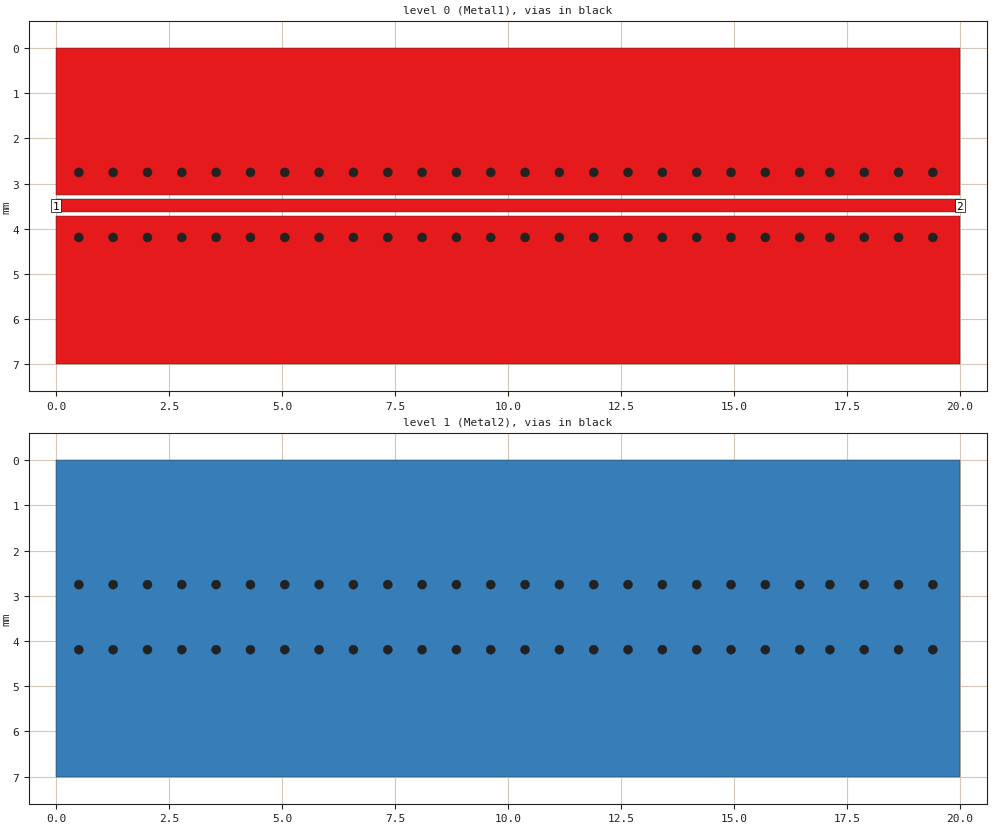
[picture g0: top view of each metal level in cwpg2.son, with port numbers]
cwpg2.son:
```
FTYP SONPROJ 19 ! Sonnet Project File
VER 18.53
HEADER
LIC SL622ff960
DAT 12/17/2022 23:14:02
BUILT_BY_CREATED xgeom 18.53-Lite 07/10/2022 23:02:48
BUILT_BY_SAVED sonnet 18.53-Lite
MDATE 12/17/2022 23:13:54
HDATE 12/17/2022 23:13:54
END HEADER
DIM
ANG DEG
CAP PF
CON /OH
FREQ GHZ
IND NH
LNG MM
RES OH
END DIM
CONTROL
VARSWP
OPTIONS  -dj
SPEED 0
CACHE_ABS 2
Q_ACC N
END CONTROL
GEO
TMET "Lossless" 0 SUP 0 0 0 0
BMET "Lossless" 0 SUP 0 0 0 0
MET "Copper" 1 NOR 58000000 0.5 0.03500000112 
MET "Copper2" 2 NOR 58000000 0.5 0.0152000000038 
MET "Copper" 1 VOL 58000000 SOLID 0
BOX 1 20 7 158 330 20 0
      5 1 1 0 0 0 0 "Air"
      0.2104 4.6 1 0.02 0 0 0 "FR-4"
TECHLAY METAL Metal1 <UNSPECIFIED> -2 -65534 
0 0 0 N 333 1 1 100 100 0 0 0 Y
END
END
TECHLAY METAL Metal2 <UNSPECIFIED> -3 -65534 
1 0 1 N 337 1 1 100 100 0 0 0 Y
END
END
VALVAR l LNG 3.274030303 "Dim. Param."
VCNSTR OPT l 0 3 ON 
VALVAR l_1 LNG 3.26030303 "Dim. Param. l_1"
LORGN 0 7 U 
POR1 BOX
POLY 133 1
3
1 50 0 0 0 0 3.491654697 
POR1 BOX
POLY 133 1
1
2 50 0 0 0 20 3.491654697 
NUM 56
0 5 0 N 133 1 1 100 100 0 0 0 Y
TLAYNAM Metal1 INH
0 3.344969697
20 3.344969697
20 3.638339697
0 3.638339697
0 3.344969697
END
0 5 0 N 138 1 1 100 100 0 0 0 Y
TLAYNAM Metal1 INH
-3.157264883e-18 0
20 0
20 3.26030303
5.551115123e-17 3.26030303
-3.157264883e-18 0
END
0 5 0 N 314 1 1 100 100 0 0 0 Y
TLAYNAM Metal1 INH
0 7
20 7
20 3.725969697
0 3.725969697
0 7
END
VIA POLYGON
0 37 -1 N 256 1 1 100 100 0 0 0 Y
TOLEVEL GND RING NOCOVERS
0.6063291139 2.761051897
0.6032906645 2.778283799
0.5973060875 2.79472629
0.5885572211 2.809879771
0.5773098953 2.823283812
0.5639058544 2.834531138
0.5487523734 2.843280004
0.5323098831 2.849264581
0.5150779803 2.85230303
0.4975802476 2.85230303
0.4803483447 2.849264581
0.4639058544 2.843280004
0.4487523734 2.834531138
0.4353483325 2.823283812
0.4241010067 2.809879771
0.4153521404 2.79472629
0.4093675633 2.778283799
0.4063291139 2.761051897
0.4063291139 2.743554164
0.4093675633 2.726322261
0.4153521404 2.709879771
0.4241010067 2.69472629
0.4353483325 2.681322249
0.4487523734 2.670074923
0.4639058544 2.661326057
0.4803483447 2.65534148
0.4975802476 2.65230303
0.5150779803 2.65230303
0.5323098831 2.65534148
0.5487523734 2.661326057
0.5639058544 2.670074923
0.5773098953 2.681322249
0.5885572211 2.69472629
0.5973060875 2.709879771
0.6032906645 2.726322261
0.6063291139 2.743554164
0.6063291139 2.761051897
END
VIA POLYGON
0 37 -1 N 257 1 1 100 100 0 0 0 Y
TOLEVEL GND RING NOCOVERS
1.365822785 2.761051897
1.362784335 2.7782838
1.356799758 2.79472629
1.348050892 2.809879771
1.336803566 2.823283812
1.323399525 2.834531138
1.308246044 2.843280004
1.291803554 2.849264581
1.274571651 2.85230303
1.257073918 2.85230303
1.239842016 2.849264581
1.223399525 2.843280004
1.208246044 2.834531138
1.194842003 2.823283812
1.183594678 2.809879771
1.174845811 2.79472629
1.168861234 2.7782838
1.165822785 2.761051897
1.165822785 2.743554164
1.168861234 2.726322261
1.174845811 2.709879771
1.183594678 2.69472629
1.194842003 2.681322249
1.208246044 2.670074923
1.223399525 2.661326057
1.239842016 2.65534148
1.257073918 2.65230303
1.274571651 2.65230303
1.291803554 2.65534148
1.308246044 2.661326057
1.323399525 2.670074923
1.336803566 2.681322249
1.348050892 2.69472629
1.356799758 2.709879771
1.362784335 2.726322261
1.365822785 2.743554164
1.365822785 2.761051897
END
VIA POLYGON
0 37 -1 N 258 1 1 100 100 0 0 0 Y
TOLEVEL GND RING NOCOVERS
2.125316456 2.761051897
2.122278006 2.7782838
2.116293429 2.79472629
2.107544563 2.809879771
2.096297237 2.823283812
2.082893196 2.834531138
2.067739715 2.843280004
2.051297225 2.849264581
2.034065322 2.85230303
2.016567589 2.85230303
1.999335686 2.849264581
1.982893196 2.843280004
1.967739715 2.834531138
1.954335674 2.823283812
1.943088348 2.809879771
1.934339482 2.79472629
1.928354905 2.7782838
1.925316456 2.761051897
1.925316456 2.743554164
1.928354905 2.726322261
1.934339482 2.709879771
1.943088348 2.69472629
1.954335674 2.681322249
1.967739715 2.670074923
1.982893196 2.661326057
1.999335686 2.65534148
2.016567589 2.65230303
2.034065322 2.65230303
2.051297225 2.65534148
2.067739715 2.661326057
2.082893196 2.670074923
2.096297237 2.681322249
2.107544563 2.69472629
2.116293429 2.709879771
2.122278006 2.726322261
2.125316456 2.743554164
2.125316456 2.761051897
END
VIA POLYGON
0 37 -1 N 259 1 1 100 100 0 0 0 Y
TOLEVEL GND RING NOCOVERS
3.644303798 2.761051897
3.641265348 2.7782838
3.635280771 2.79472629
3.626531905 2.809879771
3.615284579 2.823283812
3.601880538 2.834531138
3.586727057 2.843280004
3.570284567 2.849264581
3.553052664 2.85230303
3.535554931 2.85230303
3.518323029 2.849264581
3.501880538 2.843280004
3.486727057 2.834531138
3.473323016 2.823283812
3.462075691 2.809879771
3.453326824 2.79472629
3.447342247 2.7782838
3.444303798 2.761051897
3.444303798 2.743554164
3.447342247 2.726322261
3.453326824 2.709879771
3.462075691 2.69472629
3.473323016 2.681322249
3.486727057 2.670074923
3.501880538 2.661326057
3.518323029 2.65534148
3.535554931 2.65230303
3.553052664 2.65230303
3.570284567 2.65534148
3.586727057 2.661326057
3.601880538 2.670074923
3.615284579 2.681322249
3.626531905 2.69472629
3.635280771 2.709879771
3.641265348 2.726322261
3.644303798 2.743554164
3.644303798 2.761051897
END
VIA POLYGON
0 37 -1 N 260 1 1 100 100 0 0 0 Y
TOLEVEL GND RING NOCOVERS
4.403797469 2.761051897
4.400759019 2.7782838
4.394774442 2.79472629
4.386025576 2.809879771
4.37477825 2.823283812
4.361374209 2.834531138
4.346220728 2.843280004
4.329778238 2.849264581
4.312546335 2.85230303
4.295048602 2.85230303
4.277816699 2.849264581
4.261374209 2.843280004
4.246220728 2.834531138
4.232816687 2.823283812
4.221569361 2.809879771
4.212820495 2.79472629
4.206835918 2.7782838
4.203797469 2.761051897
4.203797469 2.743554164
4.206835918 2.726322261
4.212820495 2.709879771
4.221569361 2.69472629
4.232816687 2.681322249
4.246220728 2.670074923
4.261374209 2.661326057
4.277816699 2.65534148
4.295048602 2.65230303
4.312546335 2.65230303
4.329778238 2.65534148
4.346220728 2.661326057
4.361374209 2.670074923
4.37477825 2.681322249
4.386025576 2.69472629
4.394774442 2.709879771
4.400759019 2.726322261
4.403797469 2.743554164
4.403797469 2.761051897
END
VIA POLYGON
0 37 -1 N 261 1 1 100 100 0 0 0 Y
TOLEVEL GND RING NOCOVERS
2.884810127 2.761051897
2.881771677 2.7782838
2.8757871 2.79472629
2.867038234 2.809879771
2.855790908 2.823283812
2.842386867 2.834531138
2.827233386 2.843280004
2.810790896 2.849264581
2.793558993 2.85230303
2.77606126 2.85230303
2.758829357 2.849264581
2.742386867 2.843280004
2.727233386 2.834531138
2.713829345 2.823283812
2.702582019 2.809879771
2.693833153 2.79472629
2.687848576 2.7782838
2.684810127 2.761051897
2.684810127 2.743554164
2.687848576 2.726322261
2.693833153 2.709879771
2.702582019 2.69472629
2.713829345 2.681322249
2.727233386 2.670074923
2.742386867 2.661326057
2.758829357 2.65534148
2.77606126 2.65230303
2.793558993 2.65230303
2.810790896 2.65534148
2.827233386 2.661326057
2.842386867 2.670074923
2.855790908 2.681322249
2.867038234 2.69472629
2.8757871 2.709879771
2.881771677 2.726322261
2.884810127 2.743554164
2.884810127 2.761051897
END
VIA POLYGON
0 37 -1 N 262 1 1 100 100 0 0 0 Y
TOLEVEL GND RING NOCOVERS
5.92278481 2.761051897
5.91974636 2.7782838
5.913761783 2.79472629
5.905012917 2.809879771
5.893765591 2.823283812
5.88036155 2.834531138
5.865208069 2.843280004
5.848765579 2.849264581
5.831533676 2.85230303
5.814035943 2.85230303
5.796804041 2.849264581
5.78036155 2.843280004
5.765208069 2.834531138
5.751804028 2.823283812
5.740556703 2.809879771
5.731807836 2.79472629
5.725823259 2.7782838
5.72278481 2.761051897
5.72278481 2.743554164
5.725823259 2.726322261
5.731807836 2.709879771
5.740556703 2.69472629
5.751804028 2.681322249
5.765208069 2.670074923
5.78036155 2.661326057
5.796804041 2.65534148
5.814035943 2.65230303
5.831533676 2.65230303
5.848765579 2.65534148
5.865208069 2.661326057
5.88036155 2.670074923
5.893765591 2.681322249
5.905012917 2.69472629
5.913761783 2.709879771
5.91974636 2.726322261
5.92278481 2.743554164
5.92278481 2.761051897
END
VIA POLYGON
0 37 -1 N 263 1 1 100 100 0 0 0 Y
TOLEVEL GND RING NOCOVERS
6.682278481 2.761051897
6.679240031 2.7782838
6.673255454 2.79472629
6.664506588 2.809879771
6.653259262 2.823283812
6.639855221 2.834531138
6.62470174 2.843280004
6.60825925 2.849264581
6.591027347 2.85230303
6.573529614 2.85230303
6.556297711 2.849264581
6.539855221 2.843280004
6.52470174 2.834531138
6.511297699 2.823283812
6.500050373 2.809879771
6.491301507 2.79472629
6.48531693 2.7782838
6.482278481 2.761051897
6.482278481 2.743554164
6.48531693 2.726322261
6.491301507 2.709879771
6.500050373 2.69472629
6.511297699 2.681322249
6.52470174 2.670074923
6.539855221 2.661326057
6.556297711 2.65534148
6.573529614 2.65230303
6.591027347 2.65230303
6.60825925 2.65534148
6.62470174 2.661326057
6.639855221 2.670074923
6.653259262 2.681322249
6.664506588 2.69472629
6.673255454 2.709879771
6.679240031 2.726322261
6.682278481 2.743554164
6.682278481 2.761051897
END
VIA POLYGON
0 37 -1 N 264 1 1 100 100 0 0 0 Y
TOLEVEL GND RING NOCOVERS
5.163291139 2.761051897
5.16025269 2.7782838
5.154268113 2.79472629
5.145519246 2.809879771
5.134271921 2.823283812
5.12086788 2.834531138
5.105714399 2.843280004
5.089271908 2.849264581
5.072040006 2.85230303
5.054542273 2.85230303
5.03731037 2.849264581
5.02086788 2.843280004
5.005714399 2.834531138
4.992310358 2.823283812
4.981063032 2.809879771
4.972314166 2.79472629
4.966329589 2.7782838
4.963291139 2.761051897
4.963291139 2.743554164
4.966329589 2.726322261
4.972314166 2.709879771
4.981063032 2.69472629
4.992310358 2.681322249
5.005714399 2.670074923
5.02086788 2.661326057
5.03731037 2.65534148
5.054542273 2.65230303
5.072040006 2.65230303
5.089271908 2.65534148
5.105714399 2.661326057
5.12086788 2.670074923
5.134271921 2.681322249
5.145519246 2.69472629
5.154268113 2.709879771
5.16025269 2.726322261
5.163291139 2.743554164
5.163291139 2.761051897
END
VIA POLYGON
0 37 -1 N 266 1 1 100 100 0 0 0 Y
TOLEVEL GND RING NOCOVERS
8.201265823 2.761051897
8.198227373 2.7782838
8.192242796 2.79472629
8.18349393 2.809879771
8.172246604 2.823283812
8.158842563 2.834531138
8.143689082 2.843280004
8.127246592 2.849264581
8.110014689 2.85230303
8.092516956 2.85230303
8.075285054 2.849264581
8.058842563 2.843280004
8.043689082 2.834531138
8.030285041 2.823283812
8.019037716 2.809879771
8.010288849 2.79472629
8.004304272 2.7782838
8.001265823 2.761051897
8.001265823 2.743554164
8.004304272 2.726322261
8.010288849 2.709879771
8.019037716 2.69472629
8.030285041 2.681322249
8.043689082 2.670074923
8.058842563 2.661326057
8.075285054 2.65534148
8.092516956 2.65230303
8.110014689 2.65230303
8.127246592 2.65534148
8.143689082 2.661326057
8.158842563 2.670074923
8.172246604 2.681322249
8.18349393 2.69472629
8.192242796 2.709879771
8.198227373 2.726322261
8.201265823 2.743554164
8.201265823 2.761051897
END
VIA POLYGON
0 37 -1 N 267 1 1 100 100 0 0 0 Y
TOLEVEL GND RING NOCOVERS
7.441772152 2.761051897
7.438733702 2.7782838
7.432749125 2.79472629
7.424000259 2.809879771
7.412752933 2.823283812
7.399348892 2.834531138
7.384195411 2.843280004
7.367752921 2.849264581
7.350521018 2.85230303
7.333023285 2.85230303
7.315791382 2.849264581
7.299348892 2.843280004
7.284195411 2.834531138
7.27079137 2.823283812
7.259544044 2.809879771
7.250795178 2.79472629
7.244810601 2.7782838
7.241772152 2.761051897
7.241772152 2.743554164
7.244810601 2.726322261
7.250795178 2.709879771
7.259544044 2.69472629
7.27079137 2.681322249
7.284195411 2.670074923
7.299348892 2.661326057
7.315791382 2.65534148
7.333023285 2.65230303
7.350521018 2.65230303
7.367752921 2.65534148
7.384195411 2.661326057
7.399348892 2.670074923
7.412752933 2.681322249
7.424000259 2.69472629
7.432749125 2.709879771
7.438733702 2.726322261
7.441772152 2.743554164
7.441772152 2.761051897
END
VIA POLYGON
0 37 -1 N 280 1 1 100 100 0 0 0 Y
TOLEVEL GND RING NOCOVERS
8.960759494 2.761051897
8.957721044 2.7782838
8.951736467 2.79472629
8.942987601 2.809879771
8.931740275 2.823283812
8.918336234 2.834531138
8.903182753 2.843280004
8.886740263 2.849264581
8.86950836 2.85230303
8.852010627 2.85230303
8.834778725 2.849264581
8.818336234 2.843280004
8.803182753 2.834531138
8.789778712 2.823283812
8.778531387 2.809879771
8.76978252 2.79472629
8.763797943 2.7782838
8.760759494 2.761051897
8.760759494 2.743554164
8.763797943 2.726322261
8.76978252 2.709879771
8.778531387 2.69472629
8.789778712 2.681322249
8.803182753 2.670074923
8.818336234 2.661326057
8.834778725 2.65534148
8.852010627 2.65230303
8.86950836 2.65230303
8.886740263 2.65534148
8.903182753 2.661326057
8.918336234 2.670074923
8.931740275 2.681322249
8.942987601 2.69472629
8.951736467 2.709879771
8.957721044 2.726322261
8.960759494 2.743554164
8.960759494 2.761051897
END
VIA POLYGON
0 37 -1 N 281 1 1 100 100 0 0 0 Y
TOLEVEL GND RING NOCOVERS
9.720253165 2.761051897
9.717214715 2.7782838
9.711230138 2.79472629
9.702481272 2.809879771
9.691233946 2.823283812
9.677829905 2.834531138
9.662676424 2.843280004
9.646233934 2.849264581
9.629002031 2.85230303
9.611504298 2.85230303
9.594272396 2.849264581
9.577829905 2.843280004
9.562676424 2.834531138
9.549272383 2.823283812
9.538025058 2.809879771
9.529276191 2.79472629
9.523291614 2.7782838
9.520253165 2.761051897
9.520253165 2.743554164
9.523291614 2.726322261
9.529276191 2.709879771
9.538025058 2.69472629
9.549272383 2.681322249
9.562676424 2.670074923
9.577829905 2.661326057
9.594272396 2.65534148
9.611504298 2.65230303
9.629002031 2.65230303
9.646233934 2.65534148
9.662676424 2.661326057
9.677829905 2.670074923
9.691233946 2.681322249
9.702481272 2.69472629
9.711230138 2.709879771
9.717214715 2.726322261
9.720253165 2.743554164
9.720253165 2.761051897
END
VIA POLYGON
0 37 -1 N 282 1 1 100 100 0 0 0 Y
TOLEVEL GND RING NOCOVERS
10.47974684 2.761051897
10.47670839 2.7782838
10.47072381 2.79472629
10.46197494 2.809879771
10.45072762 2.823283812
10.43732358 2.834531138
10.42217009 2.843280004
10.4057276 2.849264581
10.3884957 2.85230303
10.37099797 2.85230303
10.35376607 2.849264581
10.33732358 2.843280004
10.32217009 2.834531138
10.30876605 2.823283812
10.29751873 2.809879771
10.28876986 2.79472629
10.28278528 2.7782838
10.27974684 2.761051897
10.27974684 2.743554164
10.28278528 2.726322261
10.28876986 2.709879771
10.29751873 2.69472629
10.30876605 2.681322249
10.32217009 2.670074923
10.33732358 2.661326057
10.35376607 2.65534148
10.37099797 2.65230303
10.3884957 2.65230303
10.4057276 2.65534148
10.42217009 2.661326057
10.43732358 2.670074923
10.45072762 2.681322249
10.46197494 2.69472629
10.47072381 2.709879771
10.47670839 2.726322261
10.47974684 2.743554164
10.47974684 2.761051897
END
VIA POLYGON
0 37 -1 N 283 1 1 100 100 0 0 0 Y
TOLEVEL GND RING NOCOVERS
11.23924051 2.761051897
11.23620206 2.7782838
11.23021748 2.79472629
11.22146861 2.809879771
11.21022129 2.823283812
11.19681725 2.834531138
11.18166377 2.843280004
11.16522128 2.849264581
11.14798937 2.85230303
11.13049164 2.85230303
11.11325974 2.849264581
11.09681725 2.843280004
11.08166377 2.834531138
11.06825972 2.823283812
11.0570124 2.809879771
11.04826353 2.79472629
11.04227896 2.7782838
11.03924051 2.761051897
11.03924051 2.743554164
11.04227896 2.726322261
11.04826353 2.709879771
11.0570124 2.69472629
11.06825972 2.681322249
11.08166377 2.670074923
11.09681725 2.661326057
11.11325974 2.65534148
11.13049164 2.65230303
11.14798937 2.65230303
11.16522128 2.65534148
11.18166377 2.661326057
11.19681725 2.670074923
11.21022129 2.681322249
11.22146861 2.69472629
11.23021748 2.709879771
11.23620206 2.726322261
11.23924051 2.743554164
11.23924051 2.761051897
END
VIA POLYGON
0 37 -1 N 284 1 1 100 100 0 0 0 Y
TOLEVEL GND RING NOCOVERS
11.99873418 2.761051897
11.99569573 2.7782838
11.98971115 2.79472629
11.98096228 2.809879771
11.96971496 2.823283812
11.95631092 2.834531138
11.94115744 2.843280004
11.92471495 2.849264581
11.90748304 2.85230303
11.88998531 2.85230303
11.87275341 2.849264581
11.85631092 2.843280004
11.84115744 2.834531138
11.8277534 2.823283812
11.81650607 2.809879771
11.8077572 2.79472629
11.80177263 2.7782838
11.79873418 2.761051897
11.79873418 2.743554164
11.80177263 2.726322261
11.8077572 2.709879771
11.81650607 2.69472629
11.8277534 2.681322249
11.84115744 2.670074923
11.85631092 2.661326057
11.87275341 2.65534148
11.88998531 2.65230303
11.90748304 2.65230303
11.92471495 2.65534148
11.94115744 2.661326057
11.95631092 2.670074923
11.96971496 2.681322249
11.98096228 2.69472629
11.98971115 2.709879771
11.99569573 2.726322261
11.99873418 2.743554164
11.99873418 2.761051897
END
VIA POLYGON
0 37 -1 N 285 1 1 100 100 0 0 0 Y
TOLEVEL GND RING NOCOVERS
12.75822785 2.761051897
12.7551894 2.7782838
12.74920482 2.79472629
12.74045596 2.809879771
12.72920863 2.823283812
12.71580459 2.834531138
12.70065111 2.843280004
12.68420862 2.849264581
12.66697671 2.85230303
12.64947898 2.85230303
12.63224708 2.849264581
12.61580459 2.843280004
12.60065111 2.834531138
12.58724707 2.823283812
12.57599974 2.809879771
12.56725087 2.79472629
12.5612663 2.7782838
12.55822785 2.761051897
12.55822785 2.743554164
12.5612663 2.726322261
12.56725087 2.709879771
12.57599974 2.69472629
12.58724707 2.681322249
12.60065111 2.670074923
12.61580459 2.661326057
12.63224708 2.65534148
12.64947898 2.65230303
12.66697671 2.65230303
12.68420862 2.65534148
12.70065111 2.661326057
12.71580459 2.670074923
12.72920863 2.681322249
12.74045596 2.69472629
12.74920482 2.709879771
12.7551894 2.726322261
12.75822785 2.743554164
12.75822785 2.761051897
END
VIA POLYGON
0 37 -1 N 286 1 1 100 100 0 0 0 Y
TOLEVEL GND RING NOCOVERS
13.51772152 2.761051897
13.51468307 2.7782838
13.50869849 2.79472629
13.49994963 2.809879771
13.4887023 2.823283812
13.47529826 2.834531138
13.46014478 2.843280004
13.44370229 2.849264581
13.42647039 2.85230303
13.40897265 2.85230303
13.39174075 2.849264581
13.37529826 2.843280004
13.36014478 2.834531138
13.34674074 2.823283812
13.33549341 2.809879771
13.32674455 2.79472629
13.32075997 2.7782838
13.31772152 2.761051897
13.31772152 2.743554164
13.32075997 2.726322261
13.32674455 2.709879771
13.33549341 2.69472629
13.34674074 2.681322249
13.36014478 2.670074923
13.37529826 2.661326057
13.39174075 2.65534148
13.40897265 2.65230303
13.42647039 2.65230303
13.44370229 2.65534148
13.46014478 2.661326057
13.47529826 2.670074923
13.4887023 2.681322249
13.49994963 2.69472629
13.50869849 2.709879771
13.51468307 2.726322261
13.51772152 2.743554164
13.51772152 2.761051897
END
VIA POLYGON
0 37 -1 N 287 1 1 100 100 0 0 0 Y
TOLEVEL GND RING NOCOVERS
15.03670886 2.761051897
15.03367041 2.7782838
15.02768583 2.79472629
15.01893697 2.809879771
15.00768964 2.823283812
14.9942856 2.834531138
14.97913212 2.843280004
14.96268963 2.849264581
14.94545773 2.85230303
14.92795999 2.85230303
14.91072809 2.849264581
14.8942856 2.843280004
14.87913212 2.834531138
14.86572808 2.823283812
14.85448075 2.809879771
14.84573189 2.79472629
14.83974731 2.7782838
14.83670886 2.761051897
14.83670886 2.743554164
14.83974731 2.726322261
14.84573189 2.709879771
14.85448075 2.69472629
14.86572808 2.681322249
14.87913212 2.670074923
14.8942856 2.661326057
14.91072809 2.65534148
14.92795999 2.65230303
14.94545773 2.65230303
14.96268963 2.65534148
14.97913212 2.661326057
14.9942856 2.670074923
15.00768964 2.681322249
15.01893697 2.69472629
15.02768583 2.709879771
15.03367041 2.726322261
15.03670886 2.743554164
15.03670886 2.761051897
END
VIA POLYGON
0 37 -1 N 288 1 1 100 100 0 0 0 Y
TOLEVEL GND RING NOCOVERS
14.27721519 2.761051897
14.27417674 2.7782838
14.26819216 2.79472629
14.2594433 2.809879771
14.24819597 2.823283812
14.23479193 2.834531138
14.21963845 2.843280004
14.20319596 2.849264581
14.18596406 2.85230303
14.16846632 2.85230303
14.15123442 2.849264581
14.13479193 2.843280004
14.11963845 2.834531138
14.10623441 2.823283812
14.09498708 2.809879771
14.08623822 2.79472629
14.08025364 2.7782838
14.07721519 2.761051897
14.07721519 2.743554164
14.08025364 2.726322261
14.08623822 2.709879771
14.09498708 2.69472629
14.10623441 2.681322249
14.11963845 2.670074923
14.13479193 2.661326057
14.15123442 2.65534148
14.16846632 2.65230303
14.18596406 2.65230303
14.20319596 2.65534148
14.21963845 2.661326057
14.23479193 2.670074923
14.24819597 2.681322249
14.2594433 2.69472629
14.26819216 2.709879771
14.27417674 2.726322261
14.27721519 2.743554164
14.27721519 2.761051897
END
VIA POLYGON
0 37 -1 N 289 1 1 100 100 0 0 0 Y
TOLEVEL GND RING NOCOVERS
15.79620253 2.761051897
15.79316408 2.7782838
15.7871795 2.79472629
15.77843064 2.809879771
15.76718331 2.823283812
15.75377927 2.834531138
15.73862579 2.843280004
15.7221833 2.849264581
15.7049514 2.85230303
15.68745366 2.85230303
15.67022176 2.849264581
15.65377927 2.843280004
15.63862579 2.834531138
15.62522175 2.823283812
15.61397442 2.809879771
15.60522556 2.79472629
15.59924098 2.7782838
15.59620253 2.761051897
15.59620253 2.743554164
15.59924098 2.726322261
15.60522556 2.709879771
15.61397442 2.69472629
15.62522175 2.681322249
15.63862579 2.670074923
15.65377927 2.661326057
15.67022176 2.65534148
15.68745366 2.65230303
15.7049514 2.65230303
15.7221833 2.65534148
15.73862579 2.661326057
15.75377927 2.670074923
15.76718331 2.681322249
15.77843064 2.69472629
15.7871795 2.709879771
15.79316408 2.726322261
15.79620253 2.743554164
15.79620253 2.761051897
END
VIA POLYGON
0 37 -1 N 290 1 1 100 100 0 0 0 Y
TOLEVEL GND RING NOCOVERS
16.5556962 2.761051897
16.55265775 2.7782838
16.54667318 2.79472629
16.53792431 2.809879771
16.52667698 2.823283812
16.51327294 2.834531138
16.49811946 2.843280004
16.48167697 2.849264581
16.46444507 2.85230303
16.44694734 2.85230303
16.42971543 2.849264581
16.41327294 2.843280004
16.39811946 2.834531138
16.38471542 2.823283812
16.3734681 2.809879771
16.36471923 2.79472629
16.35873465 2.7782838
16.3556962 2.761051897
16.3556962 2.743554164
16.35873465 2.726322261
16.36471923 2.709879771
16.3734681 2.69472629
16.38471542 2.681322249
16.39811946 2.670074923
16.41327294 2.661326057
16.42971543 2.65534148
16.44694734 2.65230303
16.46444507 2.65230303
16.48167697 2.65534148
16.49811946 2.661326057
16.51327294 2.670074923
16.52667698 2.681322249
16.53792431 2.69472629
16.54667318 2.709879771
16.55265775 2.726322261
16.5556962 2.743554164
16.5556962 2.761051897
END
VIA POLYGON
0 37 -1 N 291 1 1 100 100 0 0 0 Y
TOLEVEL GND RING NOCOVERS
17.2242129 2.760961971
17.22117445 2.778193874
17.21518987 2.794636364
17.20644101 2.809789845
17.19519368 2.823193886
17.18178964 2.834441212
17.16663616 2.843190078
17.15019367 2.849174655
17.13296177 2.852213104
17.11546403 2.852213104
17.09823213 2.849174655
17.08178964 2.843190078
17.06663616 2.834441212
17.05323212 2.823193886
17.04198479 2.809789845
17.03323593 2.794636364
17.02725135 2.778193874
17.0242129 2.760961971
17.0242129 2.743464238
17.02725135 2.726232335
17.03323593 2.709789845
17.04198479 2.694636364
17.05323212 2.681232323
17.06663616 2.669984997
17.08178964 2.661236131
17.09823213 2.655251554
17.11546403 2.652213104
17.13296177 2.652213104
17.15019367 2.655251554
17.16663616 2.661236131
17.18178964 2.669984997
17.19519368 2.681232323
17.20644101 2.694636364
17.21518987 2.709789845
17.22117445 2.726232335
17.2242129 2.743464238
17.2242129 2.760961971
END
VIA POLYGON
0 37 -1 N 292 1 1 100 100 0 0 0 Y
TOLEVEL GND RING NOCOVERS
17.98370657 2.760961971
17.98066812 2.778193874
17.97468354 2.794636364
17.96593468 2.809789845
17.95468735 2.823193886
17.94128331 2.834441212
17.92612983 2.843190078
17.90968734 2.849174655
17.89245544 2.852213104
17.8749577 2.852213104
17.8577258 2.849174655
17.84128331 2.843190078
17.82612983 2.834441212
17.81272579 2.823193886
17.80147846 2.809789845
17.7927296 2.794636364
17.78674502 2.778193874
17.78370657 2.760961971
17.78370657 2.743464238
17.78674502 2.726232335
17.7927296 2.709789845
17.80147846 2.694636364
17.81272579 2.681232323
17.82612983 2.669984997
17.84128331 2.661236131
17.8577258 2.655251554
17.8749577 2.652213104
17.89245544 2.652213104
17.90968734 2.655251554
17.92612983 2.661236131
17.94128331 2.669984997
17.95468735 2.681232323
17.96593468 2.694636364
17.97468354 2.709789845
17.98066812 2.726232335
17.98370657 2.743464238
17.98370657 2.760961971
END
VIA POLYGON
0 37 -1 N 293 1 1 100 100 0 0 0 Y
TOLEVEL GND RING NOCOVERS
18.74320024 2.760961971
18.74016179 2.778193874
18.73417722 2.794636364
18.72542835 2.809789845
18.71418102 2.823193886
18.70077698 2.834441212
18.6856235 2.843190078
18.66918101 2.849174655
18.65194911 2.852213104
18.63445138 2.852213104
18.61721947 2.849174655
18.60077698 2.843190078
18.5856235 2.834441212
18.57221946 2.823193886
18.56097214 2.809789845
18.55222327 2.794636364
18.54623869 2.778193874
18.54320024 2.760961971
18.54320024 2.743464238
18.54623869 2.726232335
18.55222327 2.709789845
18.56097214 2.694636364
18.57221946 2.681232323
18.5856235 2.669984997
18.60077698 2.661236131
18.61721947 2.655251554
18.63445138 2.652213104
18.65194911 2.652213104
18.66918101 2.655251554
18.6856235 2.661236131
18.70077698 2.669984997
18.71418102 2.681232323
18.72542835 2.694636364
18.73417722 2.709789845
18.74016179 2.726232335
18.74320024 2.743464238
18.74320024 2.760961971
END
VIA POLYGON
0 37 -1 N 294 1 1 100 100 0 0 0 Y
TOLEVEL GND RING NOCOVERS
19.50269391 2.760961971
19.49965546 2.778193874
19.49367089 2.794636364
19.48492202 2.809789845
19.47367469 2.823193886
19.46027065 2.834441212
19.44511717 2.843190078
19.42867468 2.849174655
19.41144278 2.852213104
19.39394505 2.852213104
19.37671314 2.849174655
19.36027065 2.843190078
19.34511717 2.834441212
19.33171313 2.823193886
19.32046581 2.809789845
19.31171694 2.794636364
19.30573236 2.778193874
19.30269391 2.760961971
19.30269391 2.743464238
19.30573236 2.726232335
19.31171694 2.709789845
19.32046581 2.694636364
19.33171313 2.681232323
19.34511717 2.669984997
19.36027065 2.661236131
19.37671314 2.655251554
19.39394505 2.652213104
19.41144278 2.652213104
19.42867468 2.655251554
19.44511717 2.661236131
19.46027065 2.669984997
19.47367469 2.681232323
19.48492202 2.694636364
19.49367089 2.709789845
19.49965546 2.726232335
19.50269391 2.743464238
19.50269391 2.760961971
END
VIA POLYGON
0 37 -1 N 295 1 1 100 100 0 0 0 Y
TOLEVEL GND RING NOCOVERS
11.99873418 4.182886064
11.9956962 4.165656397
11.98972152 4.14921413
11.98096203 4.134058797
11.96972152 4.120656064
11.9563038 4.109408097
11.94116456 4.100657797
11.92470886 4.094676097
11.90749367 4.091636564
11.88997468 4.091636564
11.87275949 4.094676097
11.8563038 4.100657797
11.84116456 4.109408097
11.82774684 4.120656064
11.81650633 4.134058797
11.80774684 4.14921413
11.80177215 4.165656397
11.79873418 4.182886064
11.79873418 4.200386664
11.80177215 4.21761633
11.80774684 4.234058597
11.81650633 4.24921393
11.82774684 4.262616664
11.84116456 4.27386463
11.8563038 4.28261493
11.87275949 4.28859663
11.88997468 4.291636164
11.90749367 4.291636164
11.92470886 4.28859663
11.94116456 4.28261493
11.9563038 4.27386463
11.96972152 4.262616664
11.98096203 4.24921393
11.98972152 4.234058597
11.9956962 4.21761633
11.99873418 4.200386664
11.99873418 4.182886064
END
VIA POLYGON
0 37 -1 N 296 1 1 100 100 0 0 0 Y
TOLEVEL GND RING NOCOVERS
5.92278481 4.182886064
5.919746835 4.165656397
5.913772152 4.14921413
5.905012658 4.134058797
5.893772152 4.120656064
5.88035443 4.109408097
5.86521519 4.100657797
5.848759494 4.094676097
5.831544304 4.091636564
5.814025316 4.091636564
5.796810127 4.094676097
5.78035443 4.100657797
5.76521519 4.109408097
5.751797468 4.120656064
5.740556962 4.134058797
5.731797468 4.14921413
5.725822785 4.165656397
5.72278481 4.182886064
5.72278481 4.200386664
5.725822785 4.21761633
5.731797468 4.234058597
5.740556962 4.24921393
5.751797468 4.262616664
5.76521519 4.27386463
5.78035443 4.28261493
5.796810127 4.28859663
5.814025316 4.291636164
5.831544304 4.291636164
5.848759494 4.28859663
5.86521519 4.28261493
5.88035443 4.27386463
5.893772152 4.262616664
5.905012658 4.24921393
5.913772152 4.234058597
5.919746835 4.21761633
5.92278481 4.200386664
5.92278481 4.182886064
END
VIA POLYGON
0 37 -1 N 297 1 1 100 100 0 0 0 Y
TOLEVEL GND RING NOCOVERS
9.720253165 4.182886064
9.71721519 4.165656397
9.711240506 4.14921413
9.702481013 4.134058797
9.691240506 4.120656064
9.677822785 4.109408097
9.662683544 4.100657797
9.646227848 4.094676097
9.629012658 4.091636564
9.611493671 4.091636564
9.594278481 4.094676097
9.577822785 4.100657797
9.562683544 4.109408097
9.549265823 4.120656064
9.538025316 4.134058797
9.529265823 4.14921413
9.523291139 4.165656397
9.520253165 4.182886064
9.520253165 4.200386664
9.523291139 4.21761633
9.529265823 4.234058597
9.538025316 4.24921393
9.549265823 4.262616664
9.562683544 4.27386463
9.577822785 4.28261493
9.594278481 4.28859663
9.611493671 4.291636164
9.629012658 4.291636164
9.646227848 4.28859663
9.662683544 4.28261493
9.677822785 4.27386463
9.691240506 4.262616664
9.702481013 4.24921393
9.711240506 4.234058597
9.71721519 4.21761633
9.720253165 4.200386664
9.720253165 4.182886064
END
VIA POLYGON
0 37 -1 N 298 1 1 100 100 0 0 0 Y
TOLEVEL GND RING NOCOVERS
14.27721519 4.182886064
14.27417722 4.165656397
14.26820253 4.14921413
14.25944304 4.134058797
14.24820253 4.120656064
14.23478481 4.109408097
14.21964557 4.100657797
14.20318987 4.094676097
14.18597468 4.091636564
14.1684557 4.091636564
14.15124051 4.094676097
14.13478481 4.100657797
14.11964557 4.109408097
14.10622785 4.120656064
14.09498734 4.134058797
14.08622785 4.14921413
14.08025316 4.165656397
14.07721519 4.182886064
14.07721519 4.200386664
14.08025316 4.21761633
14.08622785 4.234058597
14.09498734 4.24921393
14.10622785 4.262616664
14.11964557 4.27386463
14.13478481 4.28261493
14.15124051 4.28859663
14.1684557 4.291636164
14.18597468 4.291636164
14.20318987 4.28859663
14.21964557 4.28261493
14.23478481 4.27386463
14.24820253 4.262616664
14.25944304 4.24921393
14.26820253 4.234058597
14.27417722 4.21761633
14.27721519 4.200386664
14.27721519 4.182886064
END
VIA POLYGON
0 37 -1 N 299 1 1 100 100 0 0 0 Y
TOLEVEL GND RING NOCOVERS
16.5556962 4.182886064
16.55265823 4.165656397
16.54668354 4.14921413
16.53792405 4.134058797
16.52668354 4.120656064
16.51326582 4.109408097
16.49812658 4.100657797
16.48167089 4.094676097
16.4644557 4.091636564
16.44693671 4.091636564
16.42972152 4.094676097
16.41326582 4.100657797
16.39812658 4.109408097
16.38470886 4.120656064
16.37346835 4.134058797
16.36470886 4.14921413
16.35873418 4.165656397
16.3556962 4.182886064
16.3556962 4.200386664
16.35873418 4.21761633
16.36470886 4.234058597
16.37346835 4.24921393
16.38470886 4.262616664
16.39812658 4.27386463
16.41326582 4.28261493
16.42972152 4.28859663
16.44693671 4.291636164
16.4644557 4.291636164
16.48167089 4.28859663
16.49812658 4.28261493
16.51326582 4.27386463
16.52668354 4.262616664
16.53792405 4.24921393
16.54668354 4.234058597
16.55265823 4.21761633
16.5556962 4.200386664
16.5556962 4.182886064
END
VIA POLYGON
0 37 -1 N 300 1 1 100 100 0 0 0 Y
TOLEVEL GND RING NOCOVERS
17.9836962 4.182979197
17.98065823 4.165745297
17.97468354 4.14930303
17.96592405 4.134147697
17.95468354 4.120744964
17.94129114 4.109496997
17.92612658 4.10075093
17.9096962 4.094764997
17.8924557 4.091725464
17.87496203 4.091725464
17.85772152 4.094764997
17.84129114 4.10075093
17.82612658 4.109496997
17.81273418 4.120744964
17.80146835 4.134147697
17.79273418 4.14930303
17.78673418 4.165745297
17.7836962 4.182979197
17.7836962 4.200475564
17.78673418 4.21770523
17.79273418 4.234147497
17.80146835 4.24930283
17.81273418 4.262705564
17.82612658 4.27395353
17.84129114 4.28270383
17.85772152 4.288689764
17.87496203 4.291725064
17.8924557 4.291725064
17.9096962 4.288689764
17.92612658 4.28270383
17.94129114 4.27395353
17.95468354 4.262705564
17.96592405 4.24930283
17.97468354 4.234147497
17.98065823 4.21770523
17.9836962 4.200475564
17.9836962 4.182979197
END
VIA POLYGON
0 37 -1 N 301 1 1 100 100 0 0 0 Y
TOLEVEL GND RING NOCOVERS
7.441772152 4.182886064
7.438734177 4.165656397
7.432759494 4.14921413
7.424 4.134058797
7.412759494 4.120656064
7.399341772 4.109408097
7.384202532 4.100657797
7.367746835 4.094676097
7.350531646 4.091636564
7.333012658 4.091636564
7.315797468 4.094676097
7.299341772 4.100657797
7.284202532 4.109408097
7.27078481 4.120656064
7.259544304 4.134058797
7.25078481 4.14921413
7.244810127 4.165656397
7.241772152 4.182886064
7.241772152 4.200386664
7.244810127 4.21761633
7.25078481 4.234058597
7.259544304 4.24921393
7.27078481 4.262616664
7.284202532 4.27386463
7.299341772 4.28261493
7.315797468 4.28859663
7.333012658 4.291636164
7.350531646 4.291636164
7.367746835 4.28859663
7.384202532 4.28261493
7.399341772 4.27386463
7.412759494 4.262616664
7.424 4.24921393
7.432759494 4.234058597
7.438734177 4.21761633
7.441772152 4.200386664
7.441772152 4.182886064
END
VIA POLYGON
0 37 -1 N 302 1 1 100 100 0 0 0 Y
TOLEVEL GND RING NOCOVERS
15.79620253 4.182886064
15.79316456 4.165656397
15.78718987 4.14921413
15.77843038 4.134058797
15.76718987 4.120656064
15.75377215 4.109408097
15.73863291 4.100657797
15.72217722 4.094676097
15.70496203 4.091636564
15.68744304 4.091636564
15.67022785 4.094676097
15.65377215 4.100657797
15.63863291 4.109408097
15.62521519 4.120656064
15.61397468 4.134058797
15.60521519 4.14921413
15.59924051 4.165656397
15.59620253 4.182886064
15.59620253 4.200386664
15.59924051 4.21761633
15.60521519 4.234058597
15.61397468 4.24921393
15.62521519 4.262616664
15.63863291 4.27386463
15.65377215 4.28261493
15.67022785 4.28859663
15.68744304 4.291636164
15.70496203 4.291636164
15.72217722 4.28859663
15.73863291 4.28261493
15.75377215 4.27386463
15.76718987 4.262616664
15.77843038 4.24921393
15.78718987 4.234058597
15.79316456 4.21761633
15.79620253 4.200386664
15.79620253 4.182886064
END
VIA POLYGON
0 37 -1 N 303 1 1 100 100 0 0 0 Y
TOLEVEL GND RING NOCOVERS
12.75822785 4.182886064
12.75518987 4.165656397
12.74921519 4.14921413
12.7404557 4.134058797
12.72921519 4.120656064
12.71579747 4.109408097
12.70065823 4.100657797
12.68420253 4.094676097
12.66698734 4.091636564
12.64946835 4.091636564
12.63225316 4.094676097
12.61579747 4.100657797
12.60065823 4.109408097
12.58724051 4.120656064
12.576 4.134058797
12.56724051 4.14921413
12.56126582 4.165656397
12.55822785 4.182886064
12.55822785 4.200386664
12.56126582 4.21761633
12.56724051 4.234058597
12.576 4.24921393
12.58724051 4.262616664
12.60065823 4.27386463
12.61579747 4.28261493
12.63225316 4.28859663
12.64946835 4.291636164
12.66698734 4.291636164
12.68420253 4.28859663
12.70065823 4.28261493
12.71579747 4.27386463
12.72921519 4.262616664
12.7404557 4.24921393
12.74921519 4.234058597
12.75518987 4.21761633
12.75822785 4.200386664
12.75822785 4.182886064
END
VIA POLYGON
0 37 -1 N 304 1 1 100 100 0 0 0 Y
TOLEVEL GND RING NOCOVERS
8.960759494 4.182886064
8.957721519 4.165656397
8.951746835 4.14921413
8.942987342 4.134058797
8.931746835 4.120656064
8.918329114 4.109408097
8.903189873 4.100657797
8.886734177 4.094676097
8.869518987 4.091636564
8.852 4.091636564
8.83478481 4.094676097
8.818329114 4.100657797
8.803189873 4.109408097
8.789772152 4.120656064
8.778531646 4.134058797
8.769772152 4.14921413
8.763797468 4.165656397
8.760759494 4.182886064
8.760759494 4.200386664
8.763797468 4.21761633
8.769772152 4.234058597
8.778531646 4.24921393
8.789772152 4.262616664
8.803189873 4.27386463
8.818329114 4.28261493
8.83478481 4.28859663
8.852 4.291636164
8.869518987 4.291636164
8.886734177 4.28859663
8.903189873 4.28261493
8.918329114 4.27386463
8.931746835 4.262616664
8.942987342 4.24921393
8.951746835 4.234058597
8.957721519 4.21761633
8.960759494 4.200386664
8.960759494 4.182886064
END
VIA POLYGON
0 37 -1 N 305 1 1 100 100 0 0 0 Y
TOLEVEL GND RING NOCOVERS
18.74318987 4.182979197
18.7401519 4.165745297
18.73417722 4.14930303
18.72541772 4.134147697
18.71417722 4.120744964
18.70078481 4.109496997
18.68562025 4.10075093
18.66918987 4.094764997
18.65194937 4.091725464
18.6344557 4.091725464
18.61721519 4.094764997
18.60078481 4.10075093
18.58562025 4.109496997
18.57222785 4.120744964
18.56096203 4.134147697
18.55222785 4.14930303
18.54622785 4.165745297
18.54318987 4.182979197
18.54318987 4.200475564
18.54622785 4.21770523
18.55222785 4.234147497
18.56096203 4.24930283
18.57222785 4.262705564
18.58562025 4.27395353
18.60078481 4.28270383
18.61721519 4.288689764
18.6344557 4.291725064
18.65194937 4.291725064
18.66918987 4.288689764
18.68562025 4.28270383
18.70078481 4.27395353
18.71417722 4.262705564
18.72541772 4.24930283
18.73417722 4.234147497
18.7401519 4.21770523
18.74318987 4.200475564
18.74318987 4.182979197
END
VIA POLYGON
0 37 -1 N 306 1 1 100 100 0 0 0 Y
TOLEVEL GND RING NOCOVERS
8.201265823 4.182886064
8.198227848 4.165656397
8.192253165 4.14921413
8.183493671 4.134058797
8.172253165 4.120656064
8.158835443 4.109408097
8.143696203 4.100657797
8.127240506 4.094676097
8.110025316 4.091636564
8.092506329 4.091636564
8.075291139 4.094676097
8.058835443 4.100657797
8.043696203 4.109408097
8.030278481 4.120656064
8.019037975 4.134058797
8.010278481 4.14921413
8.004303797 4.165656397
8.001265823 4.182886064
8.001265823 4.200386664
8.004303797 4.21761633
8.010278481 4.234058597
8.019037975 4.24921393
8.030278481 4.262616664
8.043696203 4.27386463
8.058835443 4.28261493
8.075291139 4.28859663
8.092506329 4.291636164
8.110025316 4.291636164
8.127240506 4.28859663
8.143696203 4.28261493
8.158835443 4.27386463
8.172253165 4.262616664
8.183493671 4.24921393
8.192253165 4.234058597
8.198227848 4.21761633
8.201265823 4.200386664
8.201265823 4.182886064
END
VIA POLYGON
0 37 -1 N 307 1 1 100 100 0 0 0 Y
TOLEVEL GND RING NOCOVERS
4.403797468 4.182886064
4.400759494 4.165656397
4.39478481 4.14921413
4.386025316 4.134058797
4.37478481 4.120656064
4.361367089 4.109408097
4.346227848 4.100657797
4.329772152 4.094676097
4.312556962 4.091636564
4.295037975 4.091636564
4.277822785 4.094676097
4.261367089 4.100657797
4.246227848 4.109408097
4.232810127 4.120656064
4.22156962 4.134058797
4.212810127 4.14921413
4.206835443 4.165656397
4.203797468 4.182886064
4.203797468 4.200386664
4.206835443 4.21761633
4.212810127 4.234058597
4.22156962 4.24921393
4.232810127 4.262616664
4.246227848 4.27386463
4.261367089 4.28261493
4.277822785 4.28859663
4.295037975 4.291636164
4.312556962 4.291636164
4.329772152 4.28859663
4.346227848 4.28261493
4.361367089 4.27386463
4.37478481 4.262616664
4.386025316 4.24921393
4.39478481 4.234058597
4.400759494 4.21761633
4.403797468 4.200386664
4.403797468 4.182886064
END
VIA POLYGON
0 37 -1 N 308 1 1 100 100 0 0 0 Y
TOLEVEL GND RING NOCOVERS
0.6063291139 4.182886064
0.6032911392 4.165656397
0.5973164557 4.14921413
0.588556962 4.134058797
0.5773164557 4.120656064
0.5638987342 4.109408097
0.5487594937 4.100657797
0.5323037975 4.094676097
0.5150886076 4.091636564
0.4975696203 4.091636564
0.4803544304 4.094676097
0.4638987342 4.100657797
0.4487594937 4.109408097
0.4353417722 4.120656064
0.4241012658 4.134058797
0.4153417722 4.14921413
0.4093670886 4.165656397
0.4063291139 4.182886064
0.4063291139 4.200386664
0.4093670886 4.21761633
0.4153417722 4.234058597
0.4241012658 4.24921393
0.4353417722 4.262616664
0.4487594937 4.27386463
0.4638987342 4.28261493
0.4803544304 4.28859663
0.4975696203 4.291636164
0.5150886076 4.291636164
0.5323037975 4.28859663
0.5487594937 4.28261493
0.5638987342 4.27386463
0.5773164557 4.262616664
0.588556962 4.24921393
0.5973164557 4.234058597
0.6032911392 4.21761633
0.6063291139 4.200386664
0.6063291139 4.182886064
END
VIA POLYGON
0 37 -1 N 309 1 1 100 100 0 0 0 Y
TOLEVEL GND RING NOCOVERS
6.682278481 4.182886064
6.679240506 4.165656397
6.673265823 4.14921413
6.664506329 4.134058797
6.653265823 4.120656064
6.639848101 4.109408097
6.624708861 4.100657797
6.608253165 4.094676097
6.591037975 4.091636564
6.573518987 4.091636564
6.556303797 4.094676097
6.539848101 4.100657797
6.524708861 4.109408097
6.511291139 4.120656064
6.500050633 4.134058797
6.491291139 4.14921413
6.485316456 4.165656397
6.482278481 4.182886064
6.482278481 4.200386664
6.485316456 4.21761633
6.491291139 4.234058597
6.500050633 4.24921393
6.511291139 4.262616664
6.524708861 4.27386463
6.539848101 4.28261493
6.556303797 4.28859663
6.573518987 4.291636164
6.591037975 4.291636164
6.608253165 4.28859663
6.624708861 4.28261493
6.639848101 4.27386463
6.653265823 4.262616664
6.664506329 4.24921393
6.673265823 4.234058597
6.679240506 4.21761633
6.682278481 4.200386664
6.682278481 4.182886064
END
VIA POLYGON
0 37 -1 N 310 1 1 100 100 0 0 0 Y
TOLEVEL GND RING NOCOVERS
2.125316456 4.182886064
2.122278481 4.165656397
2.116303797 4.14921413
2.107544304 4.134058797
2.096303797 4.120656064
2.082886076 4.109408097
2.067746835 4.100657797
2.051291139 4.094676097
2.034075949 4.091636564
2.016556962 4.091636564
1.999341772 4.094676097
1.982886076 4.100657797
1.967746835 4.109408097
1.954329114 4.120656064
1.943088608 4.134058797
1.934329114 4.14921413
1.92835443 4.165656397
1.925316456 4.182886064
1.925316456 4.200386664
1.92835443 4.21761633
1.934329114 4.234058597
1.943088608 4.24921393
1.954329114 4.262616664
1.967746835 4.27386463
1.982886076 4.28261493
1.999341772 4.28859663
2.016556962 4.291636164
2.034075949 4.291636164
2.051291139 4.28859663
2.067746835 4.28261493
2.082886076 4.27386463
2.096303797 4.262616664
2.107544304 4.24921393
2.116303797 4.234058597
2.122278481 4.21761633
2.125316456 4.200386664
2.125316456 4.182886064
END
VIA POLYGON
0 37 -1 N 311 1 1 100 100 0 0 0 Y
TOLEVEL GND RING NOCOVERS
17.22420253 4.182979197
17.22116456 4.165745297
17.21518987 4.14930303
17.20643038 4.134147697
17.19518987 4.120744964
17.18179747 4.109496997
17.16663291 4.10075093
17.15020253 4.094764997
17.13296203 4.091725464
17.11546835 4.091725464
17.09822785 4.094764997
17.08179747 4.10075093
17.06663291 4.109496997
17.05324051 4.120744964
17.04197468 4.134147697
17.03324051 4.14930303
17.02724051 4.165745297
17.02420253 4.182979197
17.02420253 4.200475564
17.02724051 4.21770523
17.03324051 4.234147497
17.04197468 4.24930283
17.05324051 4.262705564
17.06663291 4.27395353
17.08179747 4.28270383
17.09822785 4.288689764
17.11546835 4.291725064
17.13296203 4.291725064
17.15020253 4.288689764
17.16663291 4.28270383
17.18179747 4.27395353
17.19518987 4.262705564
17.20643038 4.24930283
17.21518987 4.234147497
17.22116456 4.21770523
17.22420253 4.200475564
17.22420253 4.182979197
END
VIA POLYGON
0 37 -1 N 312 1 1 100 100 0 0 0 Y
TOLEVEL GND RING NOCOVERS
19.50268354 4.182979197
19.49964557 4.165745297
19.49367089 4.14930303
19.48491139 4.134147697
19.47367089 4.120744964
19.46027848 4.109496997
19.44511392 4.10075093
19.42868354 4.094764997
19.41144304 4.091725464
19.39394937 4.091725464
19.37670886 4.094764997
19.36027848 4.10075093
19.34511392 4.109496997
19.33172152 4.120744964
19.3204557 4.134147697
19.31172152 4.14930303
19.30572152 4.165745297
19.30268354 4.182979197
19.30268354 4.200475564
19.30572152 4.21770523
19.31172152 4.234147497
19.3204557 4.24930283
19.33172152 4.262705564
19.34511392 4.27395353
19.36027848 4.28270383
19.37670886 4.288689764
19.39394937 4.291725064
19.41144304 4.291725064
19.42868354 4.288689764
19.44511392 4.28270383
19.46027848 4.27395353
19.47367089 4.262705564
19.48491139 4.24930283
19.49367089 4.234147497
19.49964557 4.21770523
19.50268354 4.200475564
19.50268354 4.182979197
END
VIA POLYGON
0 37 -1 N 313 1 1 100 100 0 0 0 Y
TOLEVEL GND RING NOCOVERS
15.03670886 4.182886064
15.03367089 4.165656397
15.0276962 4.14921413
15.01893671 4.134058797
15.0076962 4.120656064
14.99427848 4.109408097
14.97913924 4.100657797
14.96268354 4.094676097
14.94546835 4.091636564
14.92794937 4.091636564
14.91073418 4.094676097
14.89427848 4.100657797
14.87913924 4.109408097
14.86572152 4.120656064
14.85448101 4.134058797
14.84572152 4.14921413
14.83974684 4.165656397
14.83670886 4.182886064
14.83670886 4.200386664
14.83974684 4.21761633
14.84572152 4.234058597
14.85448101 4.24921393
14.86572152 4.262616664
14.87913924 4.27386463
14.89427848 4.28261493
14.91073418 4.28859663
14.92794937 4.291636164
14.94546835 4.291636164
14.96268354 4.28859663
14.97913924 4.28261493
14.99427848 4.27386463
15.0076962 4.262616664
15.01893671 4.24921393
15.0276962 4.234058597
15.03367089 4.21761633
15.03670886 4.200386664
15.03670886 4.182886064
END
VIA POLYGON
0 37 -1 N 315 1 1 100 100 0 0 0 Y
TOLEVEL GND RING NOCOVERS
10.47974684 4.182886064
10.47670886 4.165656397
10.47073418 4.14921413
10.46197468 4.134058797
10.45073418 4.120656064
10.43731646 4.109408097
10.42217722 4.100657797
10.40572152 4.094676097
10.38850633 4.091636564
10.37098734 4.091636564
10.35377215 4.094676097
10.33731646 4.100657797
10.32217722 4.109408097
10.30875949 4.120656064
10.29751899 4.134058797
10.28875949 4.14921413
10.28278481 4.165656397
10.27974684 4.182886064
10.27974684 4.200386664
10.28278481 4.21761633
10.28875949 4.234058597
10.29751899 4.24921393
10.30875949 4.262616664
10.32217722 4.27386463
10.33731646 4.28261493
10.35377215 4.28859663
10.37098734 4.291636164
10.38850633 4.291636164
10.40572152 4.28859663
10.42217722 4.28261493
10.43731646 4.27386463
10.45073418 4.262616664
10.46197468 4.24921393
10.47073418 4.234058597
10.47670886 4.21761633
10.47974684 4.200386664
10.47974684 4.182886064
END
VIA POLYGON
0 37 -1 N 316 1 1 100 100 0 0 0 Y
TOLEVEL GND RING NOCOVERS
11.23924051 4.182886064
11.23620253 4.165656397
11.23022785 4.14921413
11.22146835 4.134058797
11.21022785 4.120656064
11.19681013 4.109408097
11.18167089 4.100657797
11.16521519 4.094676097
11.148 4.091636564
11.13048101 4.091636564
11.11326582 4.094676097
11.09681013 4.100657797
11.08167089 4.109408097
11.06825316 4.120656064
11.05701266 4.134058797
11.04825316 4.14921413
11.04227848 4.165656397
11.03924051 4.182886064
11.03924051 4.200386664
11.04227848 4.21761633
11.04825316 4.234058597
11.05701266 4.24921393
11.06825316 4.262616664
11.08167089 4.27386463
11.09681013 4.28261493
11.11326582 4.28859663
11.13048101 4.291636164
11.148 4.291636164
11.16521519 4.28859663
11.18167089 4.28261493
11.19681013 4.27386463
11.21022785 4.262616664
11.22146835 4.24921393
11.23022785 4.234058597
11.23620253 4.21761633
11.23924051 4.200386664
11.23924051 4.182886064
END
VIA POLYGON
0 37 -1 N 317 1 1 100 100 0 0 0 Y
TOLEVEL GND RING NOCOVERS
13.51772152 4.182886064
13.51468354 4.165656397
13.50870886 4.14921413
13.49994937 4.134058797
13.48870886 4.120656064
13.47529114 4.109408097
13.4601519 4.100657797
13.4436962 4.094676097
13.42648101 4.091636564
13.40896203 4.091636564
13.39174684 4.094676097
13.37529114 4.100657797
13.3601519 4.109408097
13.34673418 4.120656064
13.33549367 4.134058797
13.32673418 4.14921413
13.32075949 4.165656397
13.31772152 4.182886064
13.31772152 4.200386664
13.32075949 4.21761633
13.32673418 4.234058597
13.33549367 4.24921393
13.34673418 4.262616664
13.3601519 4.27386463
13.37529114 4.28261493
13.39174684 4.28859663
13.40896203 4.291636164
13.42648101 4.291636164
13.4436962 4.28859663
13.4601519 4.28261493
13.47529114 4.27386463
13.48870886 4.262616664
13.49994937 4.24921393
13.50870886 4.234058597
13.51468354 4.21761633
13.51772152 4.200386664
13.51772152 4.182886064
END
VIA POLYGON
0 37 -1 N 318 1 1 100 100 0 0 0 Y
TOLEVEL GND RING NOCOVERS
5.163291139 4.182886064
5.160253165 4.165656397
5.154278481 4.14921413
5.145518987 4.134058797
5.134278481 4.120656064
5.120860759 4.109408097
5.105721519 4.100657797
5.089265823 4.094676097
5.072050633 4.091636564
5.054531646 4.091636564
5.037316456 4.094676097
5.020860759 4.100657797
5.005721519 4.109408097
4.992303797 4.120656064
4.981063291 4.134058797
4.972303797 4.14921413
4.966329114 4.165656397
4.963291139 4.182886064
4.963291139 4.200386664
4.966329114 4.21761633
4.972303797 4.234058597
4.981063291 4.24921393
4.992303797 4.262616664
5.005721519 4.27386463
5.020860759 4.28261493
5.037316456 4.28859663
5.054531646 4.291636164
5.072050633 4.291636164
5.089265823 4.28859663
5.105721519 4.28261493
5.120860759 4.27386463
5.134278481 4.262616664
5.145518987 4.24921393
5.154278481 4.234058597
5.160253165 4.21761633
5.163291139 4.200386664
5.163291139 4.182886064
END
VIA POLYGON
0 37 -1 N 319 1 1 100 100 0 0 0 Y
TOLEVEL GND RING NOCOVERS
2.884810127 4.182886064
2.881772152 4.165656397
2.875797468 4.14921413
2.867037975 4.134058797
2.855797468 4.120656064
2.842379747 4.109408097
2.827240506 4.100657797
2.81078481 4.094676097
2.79356962 4.091636564
2.776050633 4.091636564
2.758835443 4.094676097
2.742379747 4.100657797
2.727240506 4.109408097
2.713822785 4.120656064
2.702582278 4.134058797
2.693822785 4.14921413
2.687848101 4.165656397
2.684810127 4.182886064
2.684810127 4.200386664
2.687848101 4.21761633
2.693822785 4.234058597
2.702582278 4.24921393
2.713822785 4.262616664
2.727240506 4.27386463
2.742379747 4.28261493
2.758835443 4.28859663
2.776050633 4.291636164
2.79356962 4.291636164
2.81078481 4.28859663
2.827240506 4.28261493
2.842379747 4.27386463
2.855797468 4.262616664
2.867037975 4.24921393
2.875797468 4.234058597
2.881772152 4.21761633
2.884810127 4.200386664
2.884810127 4.182886064
END
VIA POLYGON
0 37 -1 N 320 1 1 100 100 0 0 0 Y
TOLEVEL GND RING NOCOVERS
1.365822785 4.182886064
1.36278481 4.165656397
1.356810127 4.14921413
1.348050633 4.134058797
1.336810127 4.120656064
1.323392405 4.109408097
1.308253165 4.100657797
1.291797468 4.094676097
1.274582278 4.091636564
1.257063291 4.091636564
1.239848101 4.094676097
1.223392405 4.100657797
1.208253165 4.109408097
1.194835443 4.120656064
1.183594937 4.134058797
1.174835443 4.14921413
1.168860759 4.165656397
1.165822785 4.182886064
1.165822785 4.200386664
1.168860759 4.21761633
1.174835443 4.234058597
1.183594937 4.24921393
1.194835443 4.262616664
1.208253165 4.27386463
1.223392405 4.28261493
1.239848101 4.28859663
1.257063291 4.291636164
1.274582278 4.291636164
1.291797468 4.28859663
1.308253165 4.28261493
1.323392405 4.27386463
1.336810127 4.262616664
1.348050633 4.24921393
1.356810127 4.234058597
1.36278481 4.21761633
1.365822785 4.200386664
1.365822785 4.182886064
END
VIA POLYGON
0 37 -1 N 321 1 1 100 100 0 0 0 Y
TOLEVEL GND RING NOCOVERS
3.644303797 4.182886064
3.641265823 4.165656397
3.635291139 4.14921413
3.626531646 4.134058797
3.615291139 4.120656064
3.601873418 4.109408097
3.586734177 4.100657797
3.570278481 4.094676097
3.553063291 4.091636564
3.535544304 4.091636564
3.518329114 4.094676097
3.501873418 4.100657797
3.486734177 4.109408097
3.473316456 4.120656064
3.462075949 4.134058797
3.453316456 4.14921413
3.447341772 4.165656397
3.444303797 4.182886064
3.444303797 4.200386664
3.447341772 4.21761633
3.453316456 4.234058597
3.462075949 4.24921393
3.473316456 4.262616664
3.486734177 4.27386463
3.501873418 4.28261493
3.518329114 4.28859663
3.535544304 4.291636164
3.553063291 4.291636164
3.570278481 4.28859663
3.586734177 4.28261493
3.601873418 4.27386463
3.615291139 4.262616664
3.626531646 4.24921393
3.635291139 4.234058597
3.641265823 4.21761633
3.644303797 4.200386664
3.644303797 4.182886064
END
1 5 1 N 251 1 1 100 100 0 0 0 Y
TLAYNAM Metal2 NOH
2.405053934e-11 0
20 0
20 7
2.405053934e-11 7
2.405053934e-11 0
END
END GEO
OPT
MAX 100
ENABLED Y
FREQ Y ABS_ENTRY 1.0 5.0 -1 300 
GOAL Y NET=GEO DB[S11] < VALUE=-20.0 1.0
END
END OPT
VARSWP
ENABLED Y
FREQ N AY SWEEP 6.0 10.0 0.1
FREQ Y AY ABS_ENTRY 0.0 6.0 -1 300 
VAR l N 0.97366667 0.97366667 UNDEF
VAR l N 1.43933333 1.43933333 UNDEF
VAR l N 3.26030303 3.26030303 UNDEF
VAR l N 3.2740303 3.2740303 UNDEF
VAR l N 3.0 3.0 UNDEF
VAR l N 3.26030303 3.26030303 UNDEF
VAR l_1 N 3.26030303 3.26030303 UNDEF
END
END VARSWP
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```
